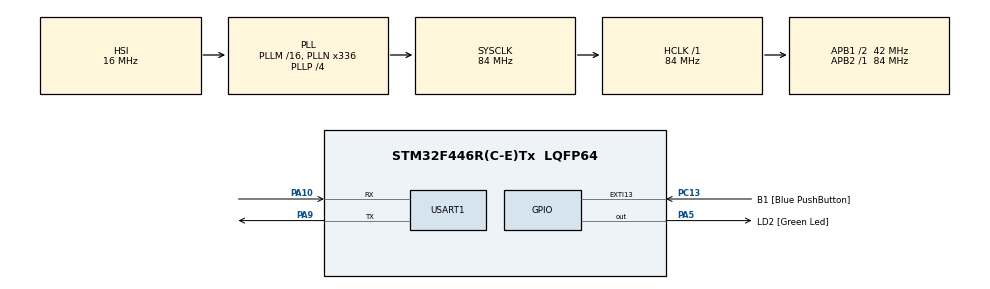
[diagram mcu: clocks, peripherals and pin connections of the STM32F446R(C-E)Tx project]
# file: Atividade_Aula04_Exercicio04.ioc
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FREERTOS.Mutexes01=Mutex01,Dynamic,NULL,Available
FREERTOS.Tasks01=Task01,40,128,StartTask,Default,NULL,Dynamic,NULL,NULL;Task02,24,128,StartTask02,Default,NULL,Dynamic,NULL,NULL
FREERTOS.configUSE_NEWLIB_REENTRANT=1
Mcu.Family=STM32F4
Mcu.Name=STM32F446R(C-E)Tx
Mcu.Package=LQFP64
NVIC.PriorityGroup=NVIC_PRIORITYGROUP_4
NVIC.TIM6_DAC_IRQn=true\:15\:0\:false\:false\:true\:false\:false\:true\:true
NVIC.TimeBase=TIM6_DAC_IRQn
NVIC.TimeBaseIP=TIM6
PA10.Mode=Asynchronous
PA10.Signal=USART1_RX
PA13.GPIO_Label=TMS
PA13.Mode=Serial_Wire
PA13.Signal=SYS_JTMS-SWDIO
PA14.GPIO_Label=TCK
PA14.Mode=Serial_Wire
PA14.Signal=SYS_JTCK-SWCLK
PA3.GPIO_Label=USART_RX
PA3.Signal=USART2_RX
PA5.GPIO_Label=LD2 [Green Led]
PA5.Signal=GPIO_Output
PA9.Mode=Asynchronous
PA9.Signal=USART1_TX
PB3.GPIO_Label=SWO
PB3.Signal=SYS_JTDO-SWO
PC13.GPIO_Label=B1 [Blue PushButton]
PC13.GPIO_ModeDefaultEXTI=GPIO_MODE_IT_FALLING
PC13.Signal=GPXTI13
PC14-OSC32_IN.Mode=LSE-External-Oscillator
PC14-OSC32_IN.Signal=RCC_OSC32_IN
PC15-OSC32_OUT.Mode=LSE-External-Oscillator
PC15-OSC32_OUT.Signal=RCC_OSC32_OUT
PH0-OSC_IN.Mode=HSE-External-Oscillator
PH0-OSC_IN.Signal=RCC_OSC_IN
PH1-OSC_OUT.Mode=HSE-External-Oscillator
PH1-OSC_OUT.Signal=RCC_OSC_OUT
ProjectManager.HeapSize=0x200
ProjectManager.StackSize=0x400
ProjectManager.TargetToolchain=STM32CubeIDE
RCC.48MHZClocksFreq_Value=84000000
RCC.AHBFreq_Value=84000000
RCC.APB1CLKDivider=RCC_HCLK_DIV2
RCC.APB1Freq_Value=42000000
RCC.APB1TimFreq_Value=84000000
RCC.APB2Freq_Value=84000000
RCC.APB2TimFreq_Value=84000000
RCC.CortexFreq_Value=84000000
RCC.FLatency-AdvancedSettings=FLASH_LATENCY_2
RCC.HCLKFreq_Value=84000000
RCC.HSE_VALUE=8000000
RCC.HSI_VALUE=16000000
RCC.PLLN=336
RCC.PLLP=RCC_PLLP_DIV4
RCC.SYSCLKFreq_VALUE=84000000
RCC.SYSCLKSource=RCC_SYSCLKSOURCE_PLLCLK
RCC.USBFreq_Value=168000000
RCC.VCOOutputFreq_Value=336000000
USART1.VirtualMode=VM_ASYNC
VP_FREERTOS_VS_CMSIS_V2.Mode=CMSIS_V2
VP_SYS_VS_tim6.Mode=TIM6
board=NUCLEO-F446RE

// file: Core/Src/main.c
/* USER CODE BEGIN Header */
/**
  ******************************************************************************
  * @file           : main.c
  * @brief          : Main program body
  ******************************************************************************
  * @attention
  *
  * Copyright (c) 2025 STMicroelectronics.
  * All rights reserved.
  *
  * This software is licensed under terms that can be found in the LICENSE file
  * in the root directory of this software component.
  * If no LICENSE file comes with this software, it is provided AS-IS.
  *
  ******************************************************************************
  */
/* USER CODE END Header */
#include "main.h"
#include "cmsis_os.h"

/* USER CODE BEGIN Includes */
#include<string.h>

/* USER CODE END Includes */

UART_HandleTypeDef huart1;

/* Definitions for Task01 */
osThreadId_t Task01Handle;
const osThreadAttr_t Task01_attributes = {
  .name = "Task01",
  .stack_size = 128 * 4,
  .priority = (osPriority_t) osPriorityHigh,
};
/* Definitions for Task02 */
osThreadId_t Task02Handle;
const osThreadAttr_t Task02_attributes = {
  .name = "Task02",
  .stack_size = 128 * 4,
  .priority = (osPriority_t) osPriorityNormal,
};
/* Definitions for Mutex01 */
osMutexId_t Mutex01Handle;
const osMutexAttr_t Mutex01_attributes = {
  .name = "Mutex01"
};

void SystemClock_Config(void);
static void MX_GPIO_Init(void);
static void MX_USART1_UART_Init(void);
void StartTask(void *argument);
void StartTask02(void *argument);

int main(void)
{

  /* MCU Configuration--------------------------------------------------------*/

  /* Reset of all peripherals, Initializes the Flash interface and the Systick. */
  HAL_Init();

  /* Configure the system clock */
  SystemClock_Config();

  /* Initialize all configured peripherals */
  MX_GPIO_Init();
  MX_USART1_UART_Init();

  /* Init scheduler */
  osKernelInitialize();
  /* Create the mutex(es) */
  /* creation of Mutex01 */
  Mutex01Handle = osMutexNew(&Mutex01_attributes);

  /* Create the thread(s) */
  /* creation of Task01 */
  Task01Handle = osThreadNew(StartTask, NULL, &Task01_attributes);

  /* creation of Task02 */
  Task02Handle = osThreadNew(StartTask02, NULL, &Task02_attributes);

  /* Start scheduler */
  osKernelStart();

  /* We should never get here as control is now taken by the scheduler */

  /* Infinite loop */
  while (1)
  {

  }
}

void SystemClock_Config(void)
{
  RCC_OscInitTypeDef RCC_OscInitStruct = {0};
  RCC_ClkInitTypeDef RCC_ClkInitStruct = {0};

  /** Configure the main internal regulator output voltage
  */
  __HAL_RCC_PWR_CLK_ENABLE();
  __HAL_PWR_VOLTAGESCALING_CONFIG(PWR_REGULATOR_VOLTAGE_SCALE3);

  /** Initializes the RCC Oscillators according to the specified parameters
  * in the RCC_OscInitTypeDef structure.
  */
  RCC_OscInitStruct.OscillatorType = RCC_OSCILLATORTYPE_HSI;
  RCC_OscInitStruct.HSIState = RCC_HSI_ON;
  RCC_OscInitStruct.HSICalibrationValue = RCC_HSICALIBRATION_DEFAULT;
  RCC_OscInitStruct.PLL.PLLState = RCC_PLL_ON;
  RCC_OscInitStruct.PLL.PLLSource = RCC_PLLSOURCE_HSI;
  RCC_OscInitStruct.PLL.PLLM = 16;
  RCC_OscInitStruct.PLL.PLLN = 336;
  RCC_OscInitStruct.PLL.PLLP = RCC_PLLP_DIV4;
  RCC_OscInitStruct.PLL.PLLQ = 2;
  RCC_OscInitStruct.PLL.PLLR = 2;
  if (HAL_RCC_OscConfig(&RCC_OscInitStruct) != HAL_OK)
  {
    Error_Handler();
  }

  /** Initializes the CPU, AHB and APB buses clocks
  */
  RCC_ClkInitStruct.ClockType = RCC_CLOCKTYPE_HCLK|RCC_CLOCKTYPE_SYSCLK
                              |RCC_CLOCKTYPE_PCLK1|RCC_CLOCKTYPE_PCLK2;
  RCC_ClkInitStruct.SYSCLKSource = RCC_SYSCLKSOURCE_PLLCLK;
  RCC_ClkInitStruct.AHBCLKDivider = RCC_SYSCLK_DIV1;
  RCC_ClkInitStruct.APB1CLKDivider = RCC_HCLK_DIV2;
  RCC_ClkInitStruct.APB2CLKDivider = RCC_HCLK_DIV1;

  if (HAL_RCC_ClockConfig(&RCC_ClkInitStruct, FLASH_LATENCY_2) != HAL_OK)
  {
    Error_Handler();
  }
}

static void MX_USART1_UART_Init(void)
{

  huart1.Instance = USART1;
  huart1.Init.BaudRate = 115200;
  huart1.Init.WordLength = UART_WORDLENGTH_8B;
  huart1.Init.StopBits = UART_STOPBITS_1;
  huart1.Init.Parity = UART_PARITY_NONE;
  huart1.Init.Mode = UART_MODE_TX_RX;
  huart1.Init.HwFlowCtl = UART_HWCONTROL_NONE;
  huart1.Init.OverSampling = UART_OVERSAMPLING_16;
  if (HAL_UART_Init(&huart1) != HAL_OK)
  {
    Error_Handler();
  }

}

static void MX_GPIO_Init(void)
{
  GPIO_InitTypeDef GPIO_InitStruct = {0};

  /* GPIO Ports Clock Enable */
  __HAL_RCC_GPIOC_CLK_ENABLE();
  __HAL_RCC_GPIOH_CLK_ENABLE();
  __HAL_RCC_GPIOA_CLK_ENABLE();
  __HAL_RCC_GPIOB_CLK_ENABLE();

  /*Configure GPIO pin Output Level */
  HAL_GPIO_WritePin(LD2_GPIO_Port, LD2_Pin, GPIO_PIN_RESET);

  /*Configure GPIO pin : B1_Pin */
  GPIO_InitStruct.Pin = B1_Pin;
  GPIO_InitStruct.Mode = GPIO_MODE_IT_FALLING;
  GPIO_InitStruct.Pull = GPIO_NOPULL;
  HAL_GPIO_Init(B1_GPIO_Port, &GPIO_InitStruct);

  /*Configure GPIO pin : USART_RX_Pin */
  GPIO_InitStruct.Pin = USART_RX_Pin;
  GPIO_InitStruct.Mode = GPIO_MODE_AF_PP;
  GPIO_InitStruct.Pull = GPIO_NOPULL;
  GPIO_InitStruct.Speed = GPIO_SPEED_FREQ_VERY_HIGH;
  GPIO_InitStruct.Alternate = GPIO_AF7_USART2;
  HAL_GPIO_Init(USART_RX_GPIO_Port, &GPIO_InitStruct);

  /*Configure GPIO pin : LD2_Pin */
  GPIO_InitStruct.Pin = LD2_Pin;
  GPIO_InitStruct.Mode = GPIO_MODE_OUTPUT_PP;
  GPIO_InitStruct.Pull = GPIO_NOPULL;
  GPIO_InitStruct.Speed = GPIO_SPEED_FREQ_LOW;
  HAL_GPIO_Init(LD2_GPIO_Port, &GPIO_InitStruct);

}

void StartTask(void *argument)
{
  /* USER CODE BEGIN 5 */
  /* Infinite loop */
  char *str = "MutexTask1: Tentando adquirir mutex...\r\n";
  char *str1 = "MutexTask1: Mutex adquirido. Trabalhando...\r\n";
  char *str2 = "MutexTask1: Liberando mutex...\r\n";

  for(;;)
  {
	 HAL_UART_Transmit(&huart1, (uint8_t *)str,strlen(str),100);
	 if( osMutexAcquire(Mutex01Handle, osWaitForever) == osOK)
	  {
		 HAL_UART_Transmit(&huart1,(uint8_t *)str1,strlen(str),100);
		 osDelay(5000);

		 HAL_UART_Transmit(&huart1,(uint8_t *)str2,strlen(str2),100);
		 osMutexRelease(Mutex01Handle);

	  }
    osDelay(5000);
  }
  /* USER CODE END 5 */
}

void StartTask02(void *argument)
{
  /* USER CODE BEGIN StartTask02 */
  /* Infinite loop */

  //osDelay(1000);
  char *str = "MutexTask2: Tentando liberar mutex sem possui-lo...\r\n";
  char *str1 = "MutexTask2: Erro - Nao eh o proprietario do mutex!\r\n";

  for(;;)
  {
	  HAL_UART_Transmit(&huart1,(uint8_t *)str,strlen(str),100);
	  osStatus status = osMutexAcquire(Mutex01Handle, osWaitForever);

	  if(status != osOK)
	  {
		  HAL_UART_Transmit(&huart1,(uint8_t *)str1,strlen(str1),100);
	  }
	  else
		  osMutexRelease(Mutex01Handle);

    osDelay(1000);
  }
  /* USER CODE END StartTask02 */
}

void HAL_TIM_PeriodElapsedCallback(TIM_HandleTypeDef *htim)
{
  if (htim->Instance == TIM6) {
    HAL_IncTick();
  }
}

void Error_Handler(void)
{
  __disable_irq();
  while (1)
  {
  }
}
